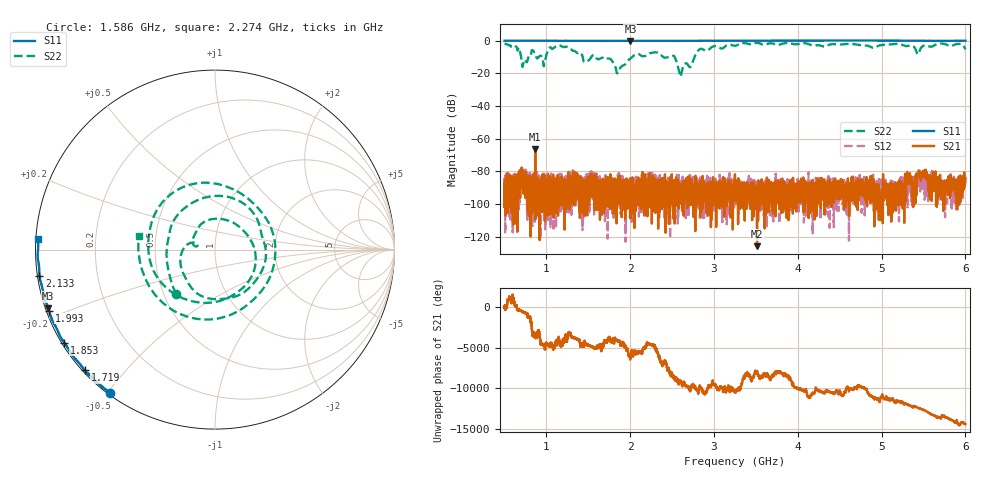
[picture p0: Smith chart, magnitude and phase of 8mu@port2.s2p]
# Hz S DB R 50
! CMT, C2409, 19096212, 19.2.3/2
! Date: 3/29/2022 3:01:45 AM
! Data: Format (Calibration Info)
! Freq	S11:dB/Ang(F2)	S21:dB/Ang(F2)	S12:dB/Ang(F2)	S22:dB/Ang(F2)
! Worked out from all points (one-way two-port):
!   5001 points, 500 MHz to 6 GHz, reference 50 ohm
!   highest |S21| = -66.57 dB at 865.9 MHz (marker M1); lowest = -125.8 dB at 3.513 GHz (marker M2)
!   lowest |S11| = -0.1 dB at 2.002 GHz (marker M3), VSWR 125.90, Z = 0.409 - j8.55 ohm
!   |S11| at or under -10 dB: nowhere
!   |S22| runs from -22.1 to -1.3 dB; largest |S21 - S12| = 0.00048
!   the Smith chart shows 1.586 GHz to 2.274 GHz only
!   S11 on the Smith chart (normalised r, x): 1.586 GHz: 0.01, -0.51; 1.719 GHz: 0.01, -0.39; 1.853 GHz: 0.01, -0.28; 1.993 GHz: 0.01, -0.18; 2.133 GHz: 0.01, -0.07; 2.274 GHz: 0.01, +0.03
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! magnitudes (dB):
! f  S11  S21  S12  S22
! 500 MHz  0.0  -95.5  -88.0  -1.8
! 671.7 MHz  0.0  -81.1  -86.8  -4.7
! 714.4 MHz  0.0  -83.3  -81.3  -16.1
! 865.9 MHz  0.0  -66.6  -89.1  -8.6
! 969.3 MHz  0.0  -96.9  -91.4  -15.2
! 1.141 GHz  -0.1  -94.7  -89.6  -2.8
! 1.417 GHz  -0.1  -84.0  -83.7  -8.4
! 1.586 GHz  -0.1  -83.8  -85.0  -9.7
! 1.719 GHz  -0.1  -92.4  -87.7  -10.9
! 1.853 GHz  -0.1  -86.7  -89.5  -18.5
! 1.993 GHz  -0.1  -89.0  -89.8  -11.3
! 2.002 GHz  -0.1  -84.1  -89.5  -10.9
! 2.133 GHz  -0.1  -101.3  -89.5  -9.3
! 2.274 GHz  -0.1  -89.7  -85.8  -7.3
! 2.334 GHz  -0.1  -106.6  -93.3  -7.4
! 2.601 GHz  -0.1  -98.0  -89.3  -22.0
! 2.83 GHz  -0.1  -87.8  -84.5  -5.2
! 3.251 GHz  0.0  -91.3  -89.9  -3.1
! 3.513 GHz  0.0  -125.8  -89.6  -1.3
! 4.168 GHz  0.1  -94.8  -91.7  -2.9
! 5.085 GHz  0.1  -93.2  -88.5  -2.3
! 6 GHz  0.0  -84.2  -81.8  -5.4
